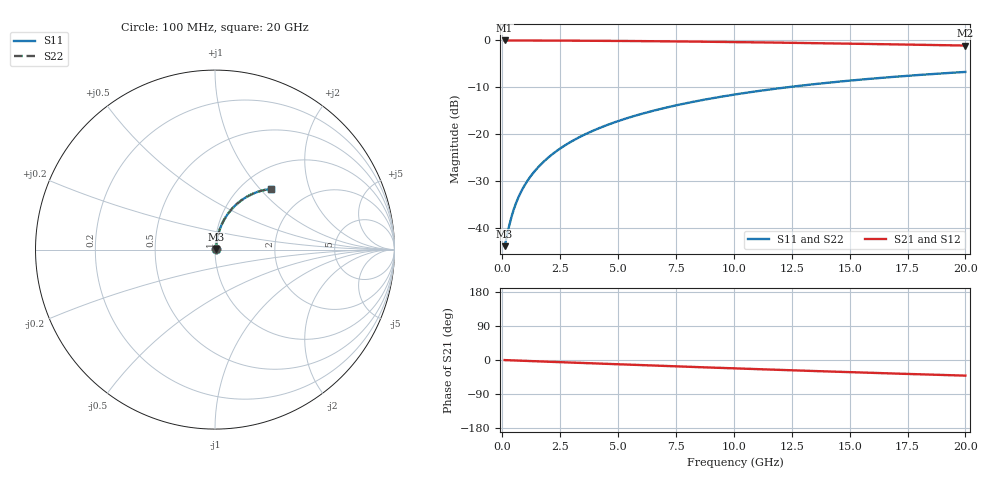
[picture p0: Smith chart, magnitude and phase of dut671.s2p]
! Touchstone file exported from HFSS 2026.1.0
!  File:  C:/ffzhzh/LocalFiles/Ansys_Project_Files/temp_train_BSMRDL_671_1783017333_55676.aedt
!  Generated:  02:36:59 AM Jul  3, 2026
!  Design:  BSMRDL
!  Project:  temp_train_BSMRDL_671_1783017333_55676
! Variables:
!  h_bsmrdl = 2.02um
!  h_ox = 20um
!  h_rdl = 5um
!  h_sub = 80um
!  h_tmrdl = 5um
!  h_tsv = 80um
!  h_via = 3um
!  l_bsmrdl = 525.42um
!  l_sub = 925.42um
!  l_tmrdl = 200um
!  m_sub = 200um
!  pitch = 53.02um
!  r_tsv = 6um
!  s_tmrdl = 10um
!  w_bsmrdl = 17.17um
!  w_sub = 500um
!  w_tmrdl = 12um
!  x_tsv_center1 = 206um
!  x_tsv_center2 = 748.59um
!  x_tsv_center3 = 960.59um
!  x_tsv_center4 = 1503.18um
!  x_tsv_center5 = 1715.18um
!  x_tsv_center6 = 2257.77um
# GHz S MA R 50.000000
! Terminal data exported
! Port[1] = BSM_RDL1_1_T1
! Port[2] = BSM_RDL1_1_T2
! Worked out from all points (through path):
!   200 points, 100 MHz to 20 GHz, reference 50 ohm
!   highest |S21| = -0.05 dB at 100 MHz (marker M1); lowest = -1.1 dB at 20 GHz (marker M2)
!   group delay of S21, straight-line fit = 5.75 ps
!   lowest |S11| = -44.0 dB at 100 MHz (marker M3), VSWR 1.01, Z = 50.6 + j0.297 ohm
!   |S11| at or under -10 dB: start of sweep to 12.37 GHz
!   |S22| runs from -44.0 to -6.8 dB; largest |S21 - S12| = 2.7e-15
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0.1  0.006337 27.6  0.9944 -0.2  0.9944 -0.2  0.006337 27.6
! Gamma 0 0 0 0
! Port Impedance 50 0 50 0
0.3  0.01054 56.2  0.9942 -0.7  0.9942 -0.7  0.01054 56.2
0.4  0.0131 62.5  0.9941 -0.9  0.9941 -0.9  0.0131 62.5
0.5  0.01576 66.5  0.9939 -1.2  0.9939 -1.2  0.01576 66.5
0.6  0.01845 69.3  0.9937 -1.4  0.9937 -1.4  0.01845 69.3
0.7  0.02115 71.2  0.9936 -1.6  0.9936 -1.6  0.02115 71.2
0.9  0.02656 73.9  0.9932 -2.1  0.9932 -2.1  0.02656 73.9
1.2  0.03467 76.1  0.9927 -2.8  0.9927 -2.8  0.03467 76.1
1.4  0.04008 77.0  0.9924 -3.2  0.9924 -3.2  0.04008 77.0
1.7  0.0482 77.8  0.9919 -3.9  0.9919 -3.9  0.04821 77.8
2.2  0.06176 78.4  0.991 -5.0  0.991 -5.0  0.06176 78.4
2.8  0.07803 78.3  0.9898 -6.4  0.9898 -6.4  0.07803 78.3
3.5  0.09694 77.7  0.988 -7.9  0.988 -7.9  0.09694 77.7
4.2  0.1157 76.8  0.9858 -9.5  0.9858 -9.5  0.1157 76.8
5  0.137 75.5  0.983 -11.3  0.983 -11.3  0.137 75.5
5.9  0.1606 74.0  0.9792 -13.3  0.9792 -13.3  0.1606 74.0
6.8  0.1839 72.3  0.975 -15.2  0.975 -15.2  0.1839 72.3
8.3  0.2216 69.4  0.9668 -18.5  0.9668 -18.5  0.2216 69.4
10.1  0.2649 65.9  0.9555 -22.3  0.9555 -22.3  0.2649 65.8
13.4  0.3381 59.4  0.9316 -29.0  0.9316 -29.0  0.3381 59.4
16.7  0.4028 53.3  0.905 -35.3  0.905 -35.3  0.4028 53.2
20  0.4588 47.4  0.8777 -41.2  0.8777 -41.2  0.4589 47.4
